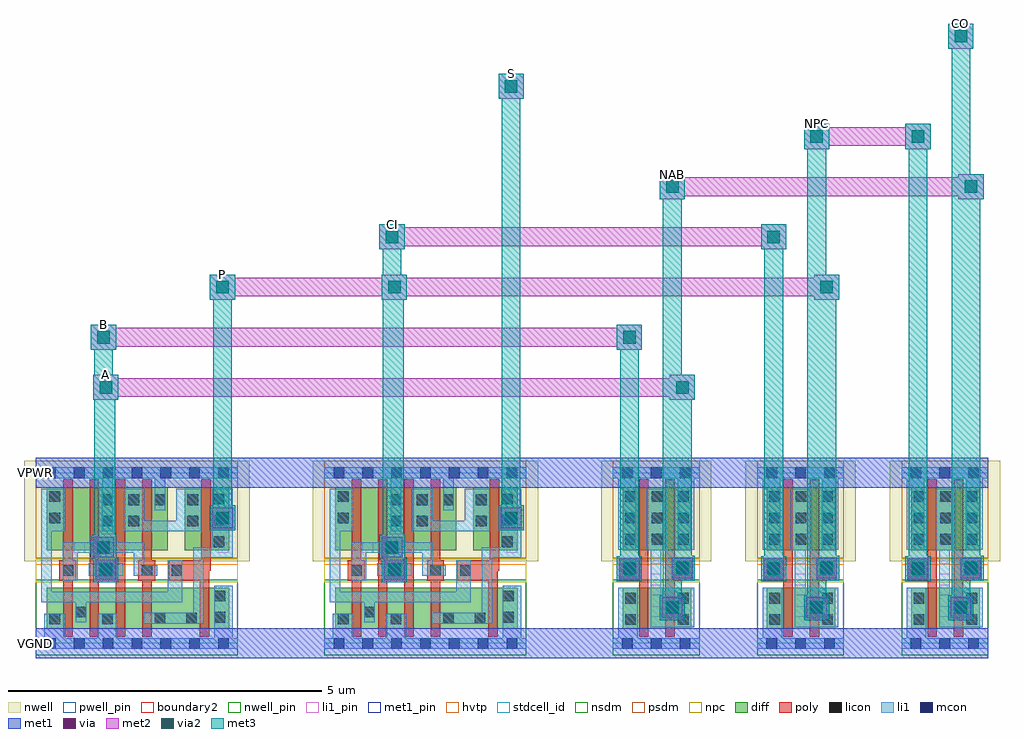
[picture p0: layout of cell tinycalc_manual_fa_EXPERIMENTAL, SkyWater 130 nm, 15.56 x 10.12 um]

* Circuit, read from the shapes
.subckt tinycalc_manual_fa_EXPERIMENTAL VGND VNB VPB VPWR
XM1 n1 sky130_fd_sc_hd__nand2_1_2/A VGND VNB sky130_fd_pr__nfet_01v8 w=0.65 l=0.15 m=2
XM2 n2 sky130_fd_sc_hd__nand2_1_2/A VGND VNB sky130_fd_pr__nfet_01v8 w=0.65 l=0.15
XM3 sky130_fd_sc_hd__nand2_1_3/A sky130_fd_sc_hd__nand2_1_2/A n2 VNB sky130_fd_pr__nfet_01v8 w=0.65 l=0.15
XM4 VGND n1 sky130_fd_sc_hd__nand2_1_3/A VNB sky130_fd_pr__nfet_01v8 w=0.65 l=0.15
XM5 n3 sky130_fd_sc_hd__nand2_1_3/A VGND VNB sky130_fd_pr__nfet_01v8 w=0.65 l=0.15 m=2
XM6 n4 sky130_fd_sc_hd__nand2_1_3/A VGND VNB sky130_fd_pr__nfet_01v8 w=0.65 l=0.15
XM7 sky130_fd_sc_hd__xor2_1_1/X sky130_fd_sc_hd__nand2_1_3/A n4 VNB sky130_fd_pr__nfet_01v8 w=0.65 l=0.15
XM8 VGND n3 sky130_fd_sc_hd__xor2_1_1/X VNB sky130_fd_pr__nfet_01v8 w=0.65 l=0.15
XM9 n5 sky130_fd_sc_hd__nand2_1_2/A VGND VNB sky130_fd_pr__nfet_01v8 w=0.65 l=0.15
XM10 sky130_fd_sc_hd__nand2_1_2/A sky130_fd_sc_hd__nand2_1_2/A n5 VNB sky130_fd_pr__nfet_01v8 w=0.65 l=0.15
XM11 n6 sky130_fd_sc_hd__nand2_1_3/A VGND VNB sky130_fd_pr__nfet_01v8 w=0.65 l=0.15
XM12 sky130_fd_sc_hd__nand2_1_3/A sky130_fd_sc_hd__nand2_1_3/A n6 VNB sky130_fd_pr__nfet_01v8 w=0.65 l=0.15
XM13 n7 sky130_fd_sc_hd__nand2_1_3/A VGND VNB sky130_fd_pr__nfet_01v8 w=0.65 l=0.15
XM14 sky130_fd_sc_hd__nand2_1_2/A sky130_fd_sc_hd__nand2_1_2/A n7 VNB sky130_fd_pr__nfet_01v8 w=0.65 l=0.15
XM15 n8 sky130_fd_sc_hd__nand2_1_2/A n1 VPB sky130_fd_pr__pfet_01v8_hvt w=1 l=0.15
XM16 VPWR sky130_fd_sc_hd__nand2_1_2/A n8 VPB sky130_fd_pr__pfet_01v8_hvt w=1 l=0.15
XM17 n9 sky130_fd_sc_hd__nand2_1_2/A VPWR VPB sky130_fd_pr__pfet_01v8_hvt w=1 l=0.15 m=2
XM18 sky130_fd_sc_hd__nand2_1_3/A n1 n9 VPB sky130_fd_pr__pfet_01v8_hvt w=1 l=0.15
XM19 n10 sky130_fd_sc_hd__nand2_1_3/A n3 VPB sky130_fd_pr__pfet_01v8_hvt w=1 l=0.15
XM20 VPWR sky130_fd_sc_hd__nand2_1_3/A n10 VPB sky130_fd_pr__pfet_01v8_hvt w=1 l=0.15
XM21 n11 sky130_fd_sc_hd__nand2_1_3/A VPWR VPB sky130_fd_pr__pfet_01v8_hvt w=1 l=0.15 m=2
XM22 sky130_fd_sc_hd__xor2_1_1/X n3 n11 VPB sky130_fd_pr__pfet_01v8_hvt w=1 l=0.15
XM23 sky130_fd_sc_hd__nand2_1_2/A sky130_fd_sc_hd__nand2_1_2/A VPWR VPB sky130_fd_pr__pfet_01v8_hvt w=1 l=0.15 m=3
XM24 sky130_fd_sc_hd__nand2_1_3/A sky130_fd_sc_hd__nand2_1_3/A VPWR VPB sky130_fd_pr__pfet_01v8_hvt w=1 l=0.15 m=2
XM25 sky130_fd_sc_hd__nand2_1_2/A sky130_fd_sc_hd__nand2_1_3/A VPWR VPB sky130_fd_pr__pfet_01v8_hvt w=1 l=0.15
.ends

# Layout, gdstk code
import gdstk
lib = gdstk.Library(unit=1e-6, precision=1e-09)
def R(c, l, rs):  # rectangles x0, y0, x1, y1
    for r in rs: c.add(gdstk.rectangle(r[:2], r[2:], *l))
def A(c, l, x, y, w, h, nx, ny, dx, dy):  # array of equal rectangles
    R(c, l, [(x+i*dx, y+j*dy, x+i*dx+w, y+j*dy+h) for i in range(nx) for j in range(ny)])
def P(c, l, *ps):  # polygons
    for p in ps: c.add(gdstk.Polygon(p, *l))
nwell_pin = (64, 16)
nwell = (64, 20)
diff = (65, 20)
poly = (66, 20)
licon = (66, 44)
li1_pin = (67, 16)
li1 = (67, 20)
mcon = (67, 44)
met1_pin = (68, 16)
met1 = (68, 20)
via = (68, 44)
met2 = (69, 20)
via2 = (69, 44)
met3 = (70, 20)
hvtp = (78, 44)
stdcell_id = (81, 4)
nsdm = (93, 44)
psdm = (94, 20)
npc = (95, 20)
pwell_pin = (122, 16)
boundary2 = (236, 0)

sky130_fd_sc_hd__xor2_1 = lib.new_cell('sky130_fd_sc_hd__xor2_1')
R(sky130_fd_sc_hd__xor2_1, nwell_pin, [(0.145,2.635,0.315,2.805)])
R(sky130_fd_sc_hd__xor2_1, nwell, [(-0.19,1.305,3.41,2.91)])
R(sky130_fd_sc_hd__xor2_1, diff, [(0.175,0.235,3.085,0.885), (0.175,1.485,2.105,2.485), (2.375,1.485,3.085,2.485)])
P(sky130_fd_sc_hd__xor2_1, poly, [(0.645,1.325),(0.585,1.325),(0.585,2.615),(0.435,2.615),(0.435,1.325),(0.375,1.325),(0.375,0.995),(0.435,0.995),(0.435,0.105),(0.585,0.105),(0.585,0.995),(0.645,0.995)],
  [(1.425,2.615),(1.275,2.615),(1.275,1.325),(1.005,1.325),(1.005,2.615),(0.855,2.615),(0.855,0.105),(1.005,0.105),(1.005,0.995),(1.275,0.995),(1.275,0.105),(1.425,0.105)],
  [(1.905,1.325),(1.845,1.325),(1.845,2.615),(1.695,2.615),(1.695,1.325),(1.635,1.325),(1.635,0.995),(1.695,0.995),(1.695,0.105),(1.845,0.105),(1.845,0.995),(1.905,0.995)],
  [(2.765,1.16),(2.785,1.16),(2.785,2.615),(2.635,2.615),(2.635,1.325),(2.115,1.325),(2.115,0.995),(2.615,0.995),(2.615,0.105),(2.765,0.105)])
A(sky130_fd_sc_hd__xor2_1, licon, 2.835, 1.535, 0.17, 0.17, 1, 3, 0, 0.34)
A(sky130_fd_sc_hd__xor2_1, licon, 1.055, 2.205, 0.17, 0.17, 3, 1, 0.42, 0)
R(sky130_fd_sc_hd__xor2_1, licon, [(0.215,0.305,0.385,0.475), (1.055,0.305,1.225,0.475), (1.895,0.315,2.065,0.485), (2.395,0.315,2.565,0.485), (2.845,0.33,3.015,0.5), (0.635,0.415,0.805,0.585), (2.845,0.67,3.015,0.84), (0.425,1.075,0.595,1.245), (1.01,1.075,1.18,1.245), (1.685,1.075,1.855,1.245), (2.165,1.075,2.335,1.245), (1.055,1.865,1.225,2.035), (1.475,1.865,1.645,2.035), (2.415,1.865,2.585,2.035), (0.215,1.915,0.385,2.085), (2.415,2.205,2.585,2.375), (0.215,2.255,0.385,2.425)])
R(sky130_fd_sc_hd__xor2_1, li1_pin, [(1.065,1.105,1.235,1.275), (0.605,1.445,0.775,1.615), (2.905,1.445,3.075,1.615)])
R(sky130_fd_sc_hd__xor2_1, li1, [(0.84,1.075,1.39,1.275)])
P(sky130_fd_sc_hd__xor2_1, li1, [(1.935,1.245),(1.73,1.245),(1.73,1.615),(0.425,1.615),(0.425,0.995),(0.67,0.995),(0.67,1.445),(1.56,1.445),(1.56,1.075),(1.935,1.075)],
  [(2.335,1.325),(2.105,1.325),(2.105,0.825),(0.255,0.825),(0.255,1.785),(0.465,1.785),(0.465,2.465),(0.085,2.465),(0.085,0.655),(0.635,0.655),(0.635,0.335),(0.805,0.335),(0.805,0.655),(2.335,0.655)],
  [(2.635,2.465),(2.235,2.465),(2.235,1.955),(1.725,1.955),(1.725,2.465),(1.395,2.465),(1.395,1.785),(2.635,1.785)],
  [(3.135,2.465),(2.815,2.465),(2.815,1.535),(2.505,1.535),(2.505,0.485),(1.72,0.485),(1.72,0.315),(2.675,0.315),(2.675,1.365),(3.135,1.365)],
  [(3.22,2.805),(0,2.805),(0,2.635),(1.055,2.635),(1.055,1.785),(1.225,1.785),(1.225,2.635),(1.895,2.635),(1.895,2.125),(2.065,2.125),(2.065,2.635),(3.22,2.635)],
  [(3.22,0.085),(3.135,0.085),(3.135,0.92),(2.845,0.92),(2.845,0.085),(1.305,0.085),(1.305,0.475),(0.975,0.475),(0.975,0.085),(0.465,0.085),(0.465,0.475),(0.135,0.475),(0.135,0.085),(0,0.085),(0,-0.085),(3.22,-0.085)])
A(sky130_fd_sc_hd__xor2_1, mcon, 0.145, -0.085, 0.17, 0.17, 7, 2, 0.46, 2.72)
R(sky130_fd_sc_hd__xor2_1, met1_pin, [(0.145,-0.085,0.315,0.085), (0.145,2.635,0.315,2.805)])
R(sky130_fd_sc_hd__xor2_1, hvtp, [(0,1.25,3.22,2.72)])
R(sky130_fd_sc_hd__xor2_1, stdcell_id, [(0,0,3.22,2.72)])
R(sky130_fd_sc_hd__xor2_1, nsdm, [(0,-0.19,3.22,1.015)])
R(sky130_fd_sc_hd__xor2_1, psdm, [(0,1.355,3.22,2.91)])
R(sky130_fd_sc_hd__xor2_1, npc, [(0,0.975,3.22,1.345)])
R(sky130_fd_sc_hd__xor2_1, pwell_pin, [(0.145,-0.085,0.315,0.085)])
R(sky130_fd_sc_hd__xor2_1, boundary2, [(0,0,3.22,2.72)])
sky130_fd_sc_hd__xor2_1.add(gdstk.FlexPath([(0,0),(3.22,0)], 0.48, ends="flush", simple_path=True, layer=68, datatype=20))  # met1
sky130_fd_sc_hd__xor2_1.add(gdstk.FlexPath([(0,2.72),(3.22,2.72)], 0.48, ends="flush", simple_path=True, layer=68, datatype=20))  # met1
sky130_fd_sc_hd__xor2_1.add(gdstk.Label('B', (0.69,1.53), layer=67, texttype=5))
sky130_fd_sc_hd__xor2_1.add(gdstk.Label('X', (2.99,1.53), layer=67, texttype=5))
sky130_fd_sc_hd__xor2_1.add(gdstk.Label('A', (1.15,1.19), layer=67, texttype=5))
sky130_fd_sc_hd__xor2_1.add(gdstk.Label('VNB', (0.23,0), layer=64, texttype=59))
sky130_fd_sc_hd__xor2_1.add(gdstk.Label('VPB', (0.23,2.72), layer=64, texttype=5))
sky130_fd_sc_hd__xor2_1.add(gdstk.Label('VPWR', (0.23,2.72), layer=68, texttype=5))
sky130_fd_sc_hd__xor2_1.add(gdstk.Label('VGND', (0.23,0), layer=68, texttype=5))
sky130_fd_sc_hd__xor2_1.add(gdstk.Label('xor2_1', (0,0), layer=83, texttype=44))

sky130_fd_sc_hd__nand2_1 = lib.new_cell('sky130_fd_sc_hd__nand2_1')
R(sky130_fd_sc_hd__nand2_1, nwell_pin, [(0.14,2.635,0.31,2.805)])
R(sky130_fd_sc_hd__nand2_1, nwell, [(-0.19,1.305,1.57,2.91)])
R(sky130_fd_sc_hd__nand2_1, diff, [(0.155,0.235,1.245,0.885), (0.155,1.485,1.245,2.485)])
P(sky130_fd_sc_hd__nand2_1, poly, [(1.275,1.325),(0.985,1.325),(0.985,2.615),(0.835,2.615),(0.835,0.105),(0.985,0.105),(0.985,0.995),(1.275,0.995)],
  [(0.565,2.615),(0.415,2.615),(0.415,1.325),(0.105,1.325),(0.105,0.995),(0.415,0.995),(0.415,0.105),(0.565,0.105)])
A(sky130_fd_sc_hd__nand2_1, licon, 0.195, 1.575, 0.17, 0.17, 3, 3, 0.42, 0.34)
R(sky130_fd_sc_hd__nand2_1, licon, [(0.195,0.295,0.365,0.465), (1.035,0.295,1.205,0.465), (0.195,0.635,0.365,0.805), (1.035,0.635,1.205,0.805), (0.18,1.075,0.35,1.245), (1.02,1.075,1.19,1.245)])
A(sky130_fd_sc_hd__nand2_1, li1_pin, 0.14, 1.105, 0.17, 0.17, 3, 1, 0.46, 0)
R(sky130_fd_sc_hd__nand2_1, li1_pin, [(0.6,0.425,0.77,0.595), (0.6,0.765,0.77,0.935)])
R(sky130_fd_sc_hd__nand2_1, li1, [(0.095,1.055,0.43,1.325), (0.94,1.075,1.275,1.325)])
P(sky130_fd_sc_hd__nand2_1, li1, [(1.38,0.085),(0.395,0.085),(0.395,0.885),(0.085,0.885),(0.085,0.085),(0,0.085),(0,-0.085),(1.38,-0.085)],
  [(1.38,2.805),(0,2.805),(0,2.635),(0.085,2.635),(0.085,1.495),(0.365,1.495),(0.365,2.635),(1.035,2.635),(1.035,1.495),(1.295,1.495),(1.295,2.635),(1.38,2.635)],
  [(1.295,0.885),(0.77,0.885),(0.77,1.485),(0.865,1.485),(0.865,2.465),(0.535,2.465),(0.535,1.485),(0.6,1.485),(0.6,0.255),(1.295,0.255)])
A(sky130_fd_sc_hd__nand2_1, mcon, 0.145, -0.085, 0.17, 0.17, 3, 2, 0.46, 2.72)
R(sky130_fd_sc_hd__nand2_1, met1_pin, [(0.14,-0.085,0.31,0.085), (0.14,2.635,0.31,2.805)])
R(sky130_fd_sc_hd__nand2_1, hvtp, [(0,1.25,1.38,2.72)])
R(sky130_fd_sc_hd__nand2_1, stdcell_id, [(0,0,1.38,2.72)])
R(sky130_fd_sc_hd__nand2_1, nsdm, [(0,-0.19,1.38,1.015)])
R(sky130_fd_sc_hd__nand2_1, psdm, [(0,1.355,1.38,2.91)])
R(sky130_fd_sc_hd__nand2_1, npc, [(0,0.975,1.38,1.345)])
R(sky130_fd_sc_hd__nand2_1, pwell_pin, [(0.14,-0.085,0.31,0.085)])
R(sky130_fd_sc_hd__nand2_1, boundary2, [(0,0,1.38,2.72)])
sky130_fd_sc_hd__nand2_1.add(gdstk.FlexPath([(0,2.72),(1.38,2.72)], 0.48, ends="flush", simple_path=True, layer=68, datatype=20))  # met1
sky130_fd_sc_hd__nand2_1.add(gdstk.FlexPath([(0,0),(1.38,0)], 0.48, ends="flush", simple_path=True, layer=68, datatype=20))  # met1
sky130_fd_sc_hd__nand2_1.add(gdstk.Label('Y', (0.685,0.51), layer=67, texttype=5))
sky130_fd_sc_hd__nand2_1.add(gdstk.Label('Y', (0.685,0.85), layer=67, texttype=5))
sky130_fd_sc_hd__nand2_1.add(gdstk.Label('Y', (0.685,1.19), layer=67, texttype=5))
sky130_fd_sc_hd__nand2_1.add(gdstk.Label('B', (0.225,1.19), layer=67, texttype=5))
sky130_fd_sc_hd__nand2_1.add(gdstk.Label('A', (1.145,1.19), layer=67, texttype=5))
sky130_fd_sc_hd__nand2_1.add(gdstk.Label('VPB', (0.225,2.72), layer=64, texttype=5))
sky130_fd_sc_hd__nand2_1.add(gdstk.Label('VNB', (0.225,0), layer=64, texttype=59))
sky130_fd_sc_hd__nand2_1.add(gdstk.Label('VGND', (0.23,0), layer=68, texttype=5))
sky130_fd_sc_hd__nand2_1.add(gdstk.Label('VPWR', (0.225,2.72), layer=68, texttype=5))
sky130_fd_sc_hd__nand2_1.add(gdstk.Label('nand2_1', (0,0), layer=83, texttype=44))

tinycalc_manual_fa_exper = lib.new_cell('tinycalc_manual_fa_EXPERIMENTAL')
R(tinycalc_manual_fa_exper, mcon, [(10.062,1.845,10.232,2.015), (12.362,1.845,12.533,2.015), (14.662,1.845,14.833,2.015), (1.03,2.45,1.2,2.62), (5.63,2.45,5.8,2.62), (9.377,2.465,9.547,2.635), (11.677,2.465,11.847,2.635), (13.977,2.465,14.148,2.635), (10.222,2.475,10.392,2.645), (12.522,2.475,12.693,2.645), (14.822,2.475,14.993,2.645), (0.992,2.805,1.162,2.975), (5.592,2.805,5.762,2.975), (2.89,3.275,3.06,3.445), (7.49,3.275,7.66,3.445)])
A(tinycalc_manual_fa_exper, met1, 9.987, 1.77, 0.32, 0.32, 3, 1, 2.3, 0)
A(tinycalc_manual_fa_exper, met1, 9.302, 2.39, 0.32, 0.32, 3, 1, 2.3, 0)
A(tinycalc_manual_fa_exper, met1, 10.147, 2.4, 0.32, 0.32, 3, 1, 2.3, 0)
R(tinycalc_manual_fa_exper, met1, [(0,1.12,15.18,1.6), (0.955,2.375,1.275,2.695), (5.555,2.375,5.875,2.695), (0.917,2.73,1.237,3.05), (5.517,2.73,5.837,3.05), (2.815,3.2,3.135,3.52), (7.415,3.2,7.735,3.52), (0,3.84,15.18,4.32)])
R(tinycalc_manual_fa_exper, via, [(10.072,1.855,10.222,2.005), (12.373,1.855,12.522,2.005), (14.673,1.855,14.822,2.005), (1.04,2.46,1.19,2.61), (5.64,2.46,5.79,2.61), (9.387,2.475,9.537,2.625), (11.687,2.475,11.837,2.625), (13.988,2.475,14.137,2.625), (10.232,2.485,10.382,2.635), (12.533,2.485,12.682,2.635), (14.833,2.485,14.982,2.635), (1.002,2.815,1.152,2.965), (5.602,2.815,5.752,2.965), (2.9,3.285,3.05,3.435), (7.5,3.285,7.65,3.435)])
A(tinycalc_manual_fa_exper, met2, 9.977, 1.76, 0.34, 0.34, 3, 1, 2.3, 0)
A(tinycalc_manual_fa_exper, met2, 9.292, 2.38, 0.34, 0.34, 3, 1, 2.3, 0)
A(tinycalc_manual_fa_exper, met2, 10.137, 2.39, 0.34, 0.34, 3, 1, 2.3, 0)
R(tinycalc_manual_fa_exper, met2, [(0.945,2.365,1.285,2.705), (5.545,2.365,5.885,2.705), (0.907,2.72,1.247,3.06), (5.507,2.72,5.847,3.06), (2.805,3.19,3.145,3.53), (7.405,3.19,7.745,3.53), (0.915,5.24,1.315,5.64), (10.107,5.24,10.507,5.64), (0.877,6.04,1.277,6.44), (9.262,6.04,9.662,6.44), (2.775,6.84,3.175,7.24), (5.515,6.84,5.915,7.24), (12.408,6.84,12.807,7.24), (5.477,7.64,5.877,8.04), (11.562,7.64,11.962,8.04), (9.947,8.44,10.347,8.84), (14.708,8.44,15.107,8.84), (12.248,9.24,12.647,9.64), (13.863,9.24,14.262,9.64), (7.375,10.04,7.775,10.44), (14.548,10.84,14.947,11.24)])
A(tinycalc_manual_fa_exper, via2, 9.362, 2.45, 0.2, 0.2, 3, 1, 2.3, 0)
R(tinycalc_manual_fa_exper, via2, [(10.047,1.83,10.247,2.03), (12.347,1.83,12.547,2.03), (14.648,1.83,14.847,2.03), (1.015,2.435,1.215,2.635), (5.615,2.435,5.815,2.635), (10.207,2.46,10.407,2.66), (12.507,2.46,12.707,2.66), (14.808,2.46,15.007,2.66), (0.977,2.79,1.177,2.99), (5.577,2.79,5.777,2.99), (2.875,3.26,3.075,3.46), (7.475,3.26,7.675,3.46), (1.015,5.34,1.215,5.54), (10.207,5.34,10.407,5.54), (0.977,6.14,1.177,6.34), (9.362,6.14,9.562,6.34), (2.875,6.94,3.075,7.14), (5.615,6.94,5.815,7.14), (12.507,6.94,12.707,7.14), (5.577,7.74,5.777,7.94), (11.662,7.74,11.862,7.94), (10.047,8.54,10.247,8.74), (14.808,8.54,15.007,8.74), (12.347,9.34,12.547,9.54), (13.962,9.34,14.162,9.54), (7.475,10.14,7.675,10.34), (14.648,10.94,14.847,11.14)])
R(tinycalc_manual_fa_exper, met3, [(9.947,1.73,10.347,2.13), (12.248,1.73,12.647,2.13), (14.548,1.73,14.947,2.13), (0.915,2.335,1.315,2.735), (5.515,2.335,5.915,2.735), (9.262,2.35,9.662,2.75), (11.562,2.35,11.962,2.75), (13.863,2.35,14.262,2.75), (10.107,2.36,10.507,2.76), (12.408,2.36,12.807,2.76), (14.708,2.36,15.107,2.76), (0.877,2.69,1.277,3.09), (5.477,2.69,5.877,3.09), (2.775,3.16,3.175,3.56), (7.375,3.16,7.775,3.56), (0.915,5.24,1.315,5.64), (10.107,5.24,10.507,5.64), (0.877,6.04,1.277,6.44), (9.262,6.04,9.662,6.44), (2.775,6.84,3.175,7.24), (5.515,6.84,5.915,7.24), (12.408,6.84,12.807,7.24), (5.477,7.64,5.877,8.04), (11.562,7.64,11.962,8.04), (9.947,8.44,10.347,8.84), (14.708,8.44,15.107,8.84), (12.248,9.24,12.647,9.64), (13.863,9.24,14.262,9.64), (7.375,10.04,7.775,10.44), (14.548,10.84,14.947,11.24)])
tinycalc_manual_fa_exper.add(gdstk.FlexPath([(1.115,2.535),(1.115,5.44)], 0.3, ends="flush", simple_path=True, layer=70, datatype=20))  # met3
tinycalc_manual_fa_exper.add(gdstk.FlexPath([(10.307,2.56),(10.307,5.44)], 0.3, ends="flush", simple_path=True, layer=70, datatype=20))  # met3
tinycalc_manual_fa_exper.add(gdstk.FlexPath([(0.915,5.44),(10.507,5.44)], 0.3, ends="flush", simple_path=True, layer=69, datatype=20))  # met2
tinycalc_manual_fa_exper.add(gdstk.FlexPath([(1.077,2.89),(1.077,6.24)], 0.3, ends="flush", simple_path=True, layer=70, datatype=20))  # met3
tinycalc_manual_fa_exper.add(gdstk.FlexPath([(9.462,2.55),(9.462,6.24)], 0.3, ends="flush", simple_path=True, layer=70, datatype=20))  # met3
tinycalc_manual_fa_exper.add(gdstk.FlexPath([(0.877,6.24),(9.662,6.24)], 0.3, ends="flush", simple_path=True, layer=69, datatype=20))  # met2
tinycalc_manual_fa_exper.add(gdstk.FlexPath([(2.975,3.36),(2.975,7.04)], 0.3, ends="flush", simple_path=True, layer=70, datatype=20))  # met3
tinycalc_manual_fa_exper.add(gdstk.FlexPath([(5.715,2.535),(5.715,7.04)], 0.3, ends="flush", simple_path=True, layer=70, datatype=20))  # met3
tinycalc_manual_fa_exper.add(gdstk.FlexPath([(12.607,2.56),(12.607,7.04)], 0.3, ends="flush", simple_path=True, layer=70, datatype=20))  # met3
tinycalc_manual_fa_exper.add(gdstk.FlexPath([(2.775,7.04),(12.807,7.04)], 0.3, ends="flush", simple_path=True, layer=69, datatype=20))  # met2
tinycalc_manual_fa_exper.add(gdstk.FlexPath([(5.677,2.89),(5.677,7.84)], 0.3, ends="flush", simple_path=True, layer=70, datatype=20))  # met3
tinycalc_manual_fa_exper.add(gdstk.FlexPath([(11.762,2.55),(11.762,7.84)], 0.3, ends="flush", simple_path=True, layer=70, datatype=20))  # met3
tinycalc_manual_fa_exper.add(gdstk.FlexPath([(5.477,7.84),(11.962,7.84)], 0.3, ends="flush", simple_path=True, layer=69, datatype=20))  # met2
tinycalc_manual_fa_exper.add(gdstk.FlexPath([(10.147,1.93),(10.147,8.64)], 0.3, ends="flush", simple_path=True, layer=70, datatype=20))  # met3
tinycalc_manual_fa_exper.add(gdstk.FlexPath([(14.907,2.56),(14.907,8.64)], 0.3, ends="flush", simple_path=True, layer=70, datatype=20))  # met3
tinycalc_manual_fa_exper.add(gdstk.FlexPath([(9.947,8.64),(15.107,8.64)], 0.3, ends="flush", simple_path=True, layer=69, datatype=20))  # met2
tinycalc_manual_fa_exper.add(gdstk.FlexPath([(12.447,1.93),(12.447,9.44)], 0.3, ends="flush", simple_path=True, layer=70, datatype=20))  # met3
tinycalc_manual_fa_exper.add(gdstk.FlexPath([(14.062,2.55),(14.062,9.44)], 0.3, ends="flush", simple_path=True, layer=70, datatype=20))  # met3
tinycalc_manual_fa_exper.add(gdstk.FlexPath([(12.248,9.44),(14.262,9.44)], 0.3, ends="flush", simple_path=True, layer=69, datatype=20))  # met2
tinycalc_manual_fa_exper.add(gdstk.FlexPath([(7.575,3.36),(7.575,10.24)], 0.3, ends="flush", simple_path=True, layer=70, datatype=20))  # met3
tinycalc_manual_fa_exper.add(gdstk.FlexPath([(7.375,10.24),(7.775,10.24)], 0.3, ends="flush", simple_path=True, layer=69, datatype=20))  # met2
tinycalc_manual_fa_exper.add(gdstk.FlexPath([(14.747,1.93),(14.747,11.04)], 0.3, ends="flush", simple_path=True, layer=70, datatype=20))  # met3
tinycalc_manual_fa_exper.add(gdstk.FlexPath([(14.548,11.04),(14.947,11.04)], 0.3, ends="flush", simple_path=True, layer=69, datatype=20))  # met2
tinycalc_manual_fa_exper.add(gdstk.Reference(sky130_fd_sc_hd__xor2_1, (0,1.36)))
tinycalc_manual_fa_exper.add(gdstk.Reference(sky130_fd_sc_hd__xor2_1, (4.6,1.36)))
tinycalc_manual_fa_exper.add(gdstk.Reference(sky130_fd_sc_hd__nand2_1, (9.2,1.36)))
tinycalc_manual_fa_exper.add(gdstk.Reference(sky130_fd_sc_hd__nand2_1, (11.5,1.36)))
tinycalc_manual_fa_exper.add(gdstk.Reference(sky130_fd_sc_hd__nand2_1, (13.8,1.36)))
tinycalc_manual_fa_exper.add(gdstk.Label('A', (1.115,5.64), layer=230, texttype=0))
tinycalc_manual_fa_exper.add(gdstk.Label('B', (1.077,6.44), layer=230, texttype=0))
tinycalc_manual_fa_exper.add(gdstk.Label('P', (2.975,7.24), layer=230, texttype=0))
tinycalc_manual_fa_exper.add(gdstk.Label('CI', (5.677,8.04), layer=230, texttype=0))
tinycalc_manual_fa_exper.add(gdstk.Label('NAB', (10.147,8.84), layer=230, texttype=0))
tinycalc_manual_fa_exper.add(gdstk.Label('NPC', (12.447,9.64), layer=230, texttype=0))
tinycalc_manual_fa_exper.add(gdstk.Label('S', (7.575,10.44), layer=230, texttype=0))
tinycalc_manual_fa_exper.add(gdstk.Label('CO', (14.747,11.24), layer=230, texttype=0))
tinycalc_manual_fa_exper.add(gdstk.Label('VGND', (0,1.36), layer=230, texttype=0))
tinycalc_manual_fa_exper.add(gdstk.Label('VPWR', (0,4.08), layer=230, texttype=0))

lib.write_gds('tinycalc_manual_fa_EXPERIMENTAL.gds')
